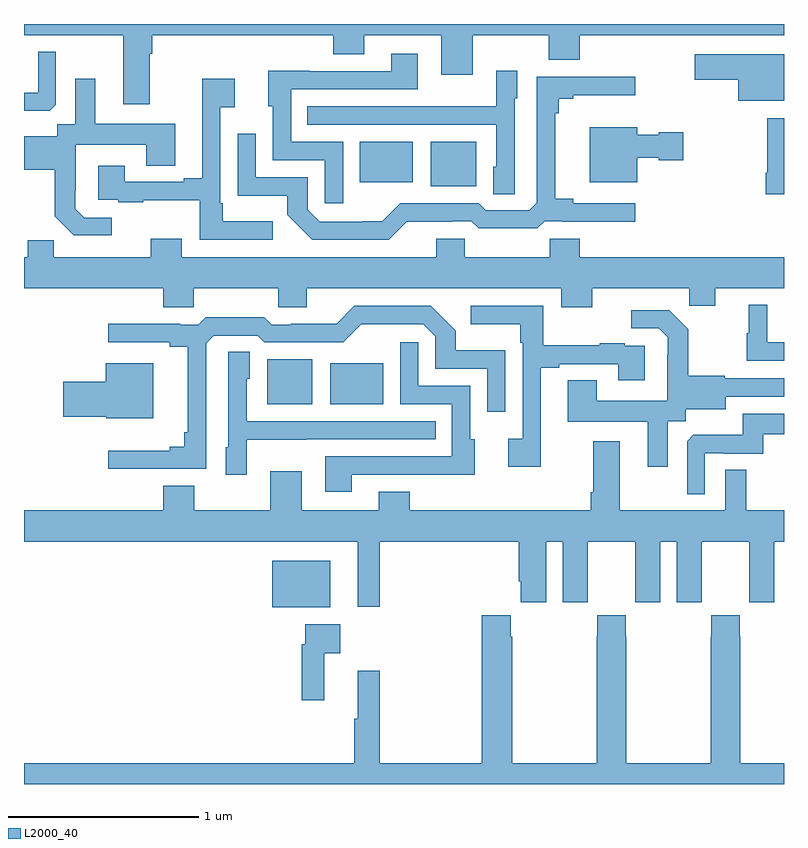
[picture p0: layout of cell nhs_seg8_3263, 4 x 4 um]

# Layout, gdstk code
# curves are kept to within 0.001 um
import gdstk
lib = gdstk.Library(unit=1e-6, precision=1e-09)
def R(c, l, rs):  # rectangles x0, y0, x1, y1
    for r in rs: c.add(gdstk.rectangle(r[:2], r[2:], *l))
def P(c, l, *ps):  # polygons
    for p in ps: c.add(gdstk.Polygon(p, *l))
L2000_40 = (2000, 40)

nhs_seg8_3263 = lib.new_cell('nhs_seg8_3263')
R(nhs_seg8_3263, L2000_40, [(314.306,1106.831,314.611,1107.076), (314.279,1107.899,314.518,1108.135), (314.612,1107.899,314.89,1108.114), (315.14,1109.045,315.379,1109.281), (314.768,1109.066,315.046,1109.281)])
P(nhs_seg8_3263, L2000_40, [(313.663,1109.744),(313.676,1109.744),(313.676,1109.84),(314.627,1109.84),(314.627,1109.741),(314.791,1109.741),(314.791,1109.84),(315.197,1109.84),(315.197,1109.634),(315.361,1109.634),(315.361,1109.84),(315.761,1109.84),(315.761,1109.712),(315.925,1109.712),(315.925,1109.84),(317,1109.84),(317,1109.9),(313,1109.9),(313,1109.84),(313.523,1109.84),(313.523,1109.478),(313.663,1109.478)],
  [(313.167,1109.475),(313.167,1109.755),(313.074,1109.755),(313.074,1109.538),(313,1109.538),(313,1109.444),(313.135,1109.444)],
  [(314.679,1109.28),(314.406,1109.28),(314.406,1109.556),(315.073,1109.556),(315.073,1109.743),(314.933,1109.743),(314.933,1109.652),(314.503,1109.652),(314.503,1109.654),(314.285,1109.654),(314.285,1109.466),(314.31,1109.466),(314.31,1109.184),(314.583,1109.184),(314.583,1108.956),(314.679,1108.956)],
  [(317,1109.74),(316.53,1109.74),(316.53,1109.606),(316.76,1109.606),(316.76,1109.495),(317,1109.495)],
  [(315.582,1109.508),(315.595,1109.508),(315.595,1109.653),(315.486,1109.653),(315.486,1109.467),(315.169,1109.467),(315.169,1109.466),(314.491,1109.466),(314.491,1109.37),(315.486,1109.37),(315.486,1109.148),(315.47,1109.148),(315.47,1109.005),(315.582,1109.005)],
  [(315.014,1108.859),(315.254,1108.859),(315.254,1108.863),(315.354,1108.863),(315.394,1108.824),(315.701,1108.824),(315.741,1108.863),(315.835,1108.863),(315.835,1108.859),(316.216,1108.859),(316.216,1108.956),(315.892,1108.956),(315.892,1108.979),(315.797,1108.979),(315.797,1109.429),(315.815,1109.429),(315.815,1109.506),(315.892,1109.506),(315.892,1109.525),(316.216,1109.525),(316.216,1109.622),(315.699,1109.622),(315.699,1108.959),(315.66,1108.92),(315.429,1108.92),(315.393,1108.956),(314.979,1108.956),(314.885,1108.862),(314.78,1108.862),(314.78,1108.86),(314.556,1108.86),(314.493,1108.923),(314.493,1109.094),(314.22,1109.094),(314.22,1109.323),(314.124,1109.323),(314.124,1108.997),(314.386,1108.997),(314.386,1108.895),(314.516,1108.764),(314.919,1108.764)],
  [(314.308,1108.861),(314.047,1108.861),(314.047,1108.957),(314.034,1108.957),(314.034,1109.462),(314.11,1109.462),(314.11,1109.611),(313.937,1109.611),(313.937,1109.089),(313.841,1109.089),(313.841,1109.07),(313.531,1109.07),(313.531,1109.155),(313.391,1109.155),(313.391,1108.974),(313.495,1108.974),(313.495,1108.962),(313.627,1108.962),(313.627,1108.973),(313.926,1108.973),(313.926,1108.764),(314.308,1108.764)],
  [(313.462,1108.881),(313.317,1108.881),(313.27,1108.928),(313.27,1109.023),(313.272,1109.023),(313.272,1109.264),(313.643,1109.264),(313.643,1109.155),(313.795,1109.155),(313.795,1109.374),(313.375,1109.374),(313.375,1109.611),(313.271,1109.611),(313.271,1109.372),(313.176,1109.372),(313.176,1109.308),(313,1109.308),(313,1109.133),(313.161,1109.133),(313.161,1108.887),(313.261,1108.787),(313.462,1108.787)],
  [(317,1109.404),(316.911,1109.404),(316.911,1109.116),(316.903,1109.116),(316.903,1109.004),(317,1109.004)],
  [(316.228,1109.195),(316.341,1109.195),(316.341,1109.183),(316.471,1109.183),(316.471,1109.33),(316.341,1109.33),(316.341,1109.317),(316.228,1109.317),(316.228,1109.356),(315.977,1109.356),(315.977,1109.066),(316.228,1109.066)],
  [(315.991,1108.508),(316.501,1108.508),(316.501,1108.418),(316.639,1108.418),(316.639,1108.508),(317,1108.508),(317,1108.672),(315.926,1108.672),(315.926,1108.77),(315.766,1108.77),(315.766,1108.672),(315.321,1108.672),(315.321,1108.77),(315.17,1108.77),(315.17,1108.672),(313.831,1108.672),(313.831,1108.771),(313.667,1108.771),(313.667,1108.672),(313.157,1108.672),(313.157,1108.763),(313.019,1108.763),(313.019,1108.672),(313,1108.672),(313,1108.508),(313.733,1108.508),(313.733,1108.41),(313.893,1108.41),(313.893,1108.508),(314.338,1108.508),(314.338,1108.41),(314.488,1108.41),(314.488,1108.508),(315.827,1108.508),(315.827,1108.409),(315.991,1108.409)],
  [(317,1108.224),(316.912,1108.224),(316.912,1108.423),(316.814,1108.423),(316.814,1108.272),(316.803,1108.272),(316.803,1108.128),(317,1108.128)],
  [(313.959,1108.221),(313.998,1108.26),(314.229,1108.26),(314.265,1108.224),(314.679,1108.224),(314.774,1108.319),(315.102,1108.32),(315.165,1108.257),(315.165,1108.086),(315.438,1108.086),(315.438,1107.858),(315.534,1107.858),(315.534,1108.183),(315.273,1108.183),(315.273,1108.286),(315.142,1108.416),(314.739,1108.416),(314.645,1108.322),(314.404,1108.322),(314.404,1108.317),(314.304,1108.317),(314.265,1108.357),(313.957,1108.357),(313.917,1108.317),(313.823,1108.317),(313.823,1108.322),(313.443,1108.322),(313.443,1108.224),(313.766,1108.224),(313.766,1108.202),(313.862,1108.202),(313.862,1107.751),(313.843,1107.751),(313.843,1107.674),(313.766,1107.674),(313.766,1107.655),(313.443,1107.655),(313.443,1107.558),(313.959,1107.558)],
  [(315.721,1108.092),(315.817,1108.092),(315.817,1108.11),(316.127,1108.11),(316.127,1108.026),(316.267,1108.026),(316.267,1108.206),(316.163,1108.206),(316.163,1108.219),(316.031,1108.219),(316.031,1108.208),(315.733,1108.208),(315.733,1108.416),(315.351,1108.416),(315.351,1108.319),(315.612,1108.319),(315.612,1108.223),(315.624,1108.223),(315.624,1107.718),(315.549,1107.718),(315.549,1107.57),(315.721,1107.57)],
  [(316.387,1107.808),(316.482,1107.808),(316.482,1107.872),(316.693,1107.872),(316.693,1107.939),(317,1107.939),(317,1108.035),(316.689,1108.035),(316.689,1108.048),(316.497,1108.048),(316.497,1108.293),(316.397,1108.393),(316.197,1108.393),(316.197,1108.299),(316.341,1108.299),(316.388,1108.252),(316.388,1108.157),(316.386,1108.157),(316.386,1107.916),(316.015,1107.916),(316.015,1108.025),(315.863,1108.025),(315.863,1107.806),(316.283,1107.806),(316.283,1107.57),(316.387,1107.57)],
  [(314.725,1107.528),(315.155,1107.528),(315.155,1107.527),(315.373,1107.527),(315.373,1107.714),(315.348,1107.714),(315.348,1107.996),(315.075,1107.996),(315.075,1108.225),(314.979,1108.225),(314.979,1107.9),(315.252,1107.9),(315.252,1107.624),(314.585,1107.624),(314.585,1107.438),(314.725,1107.438)],
  [(314.172,1107.713),(314.489,1107.713),(314.489,1107.714),(315.167,1107.714),(315.167,1107.81),(314.172,1107.81),(314.172,1108.032),(314.188,1108.032),(314.188,1108.175),(314.076,1108.175),(314.076,1107.672),(314.063,1107.672),(314.063,1107.528),(314.172,1107.528)],
  [(313.681,1108.114),(313.43,1108.114),(313.43,1108.016),(313.206,1108.016),(313.206,1107.833),(313.434,1107.833),(313.434,1107.824),(313.681,1107.824)],
  [(316.584,1107.642),(316.684,1107.642),(316.684,1107.639),(316.892,1107.639),(316.892,1107.741),(317,1107.741),(317,1107.849),(316.782,1107.849),(316.782,1107.737),(316.523,1107.737),(316.491,1107.705),(316.491,1107.425),(316.584,1107.425)],
  [(314.873,1107.176),(315.605,1107.176),(315.605,1106.968),(315.614,1106.968),(315.614,1106.856),(315.748,1106.856),(315.748,1107.176),(315.836,1107.176),(315.836,1106.856),(315.966,1106.856),(315.966,1106.968),(315.967,1106.968),(315.967,1107.176),(316.217,1107.176),(316.217,1106.968),(316.218,1106.968),(316.218,1106.856),(316.348,1106.856),(316.348,1107.176),(316.436,1107.176),(316.436,1106.856),(316.566,1106.856),(316.566,1106.968),(316.567,1106.968),(316.567,1107.176),(316.817,1107.176),(316.817,1106.968),(316.818,1106.968),(316.818,1106.856),(316.948,1106.856),(316.948,1107.176),(317,1107.176),(317,1107.34),(316.801,1107.34),(316.801,1107.554),(316.692,1107.554),(316.692,1107.34),(316.135,1107.34),(316.135,1107.703),(315.995,1107.703),(315.995,1107.436),(315.983,1107.436),(315.983,1107.34),(315.031,1107.34),(315.031,1107.439),(314.867,1107.439),(314.867,1107.34),(314.461,1107.34),(314.461,1107.547),(314.297,1107.547),(314.297,1107.34),(313.897,1107.34),(313.897,1107.469),(313.733,1107.469),(313.733,1107.34),(313,1107.34),(313,1107.176),(314.756,1107.176),(314.756,1106.832),(314.873,1106.832)],
  [(317,1106.008),(316.77,1106.008),(316.77,1106.675),(316.767,1106.675),(316.767,1106.788),(316.617,1106.788),(316.617,1106.675),(316.615,1106.675),(316.615,1106.008),(316.17,1106.008),(316.17,1106.675),(316.167,1106.675),(316.167,1106.788),(316.017,1106.788),(316.017,1106.675),(316.015,1106.675),(316.015,1106.008),(315.57,1106.008),(315.57,1106.675),(315.563,1106.675),(315.563,1106.788),(315.41,1106.788),(315.41,1106.008),(314.873,1106.008),(314.873,1106.497),(314.756,1106.497),(314.756,1106.244),(314.737,1106.244),(314.737,1106.008),(313,1106.008),(313,1105.9),(317,1105.9)],
  [(314.579,1106.588),(314.665,1106.588),(314.665,1106.74),(314.481,1106.74),(314.481,1106.636),(314.461,1106.636),(314.461,1106.34),(314.579,1106.34)])

lib.write_gds('nhs_seg8_3263.gds')
